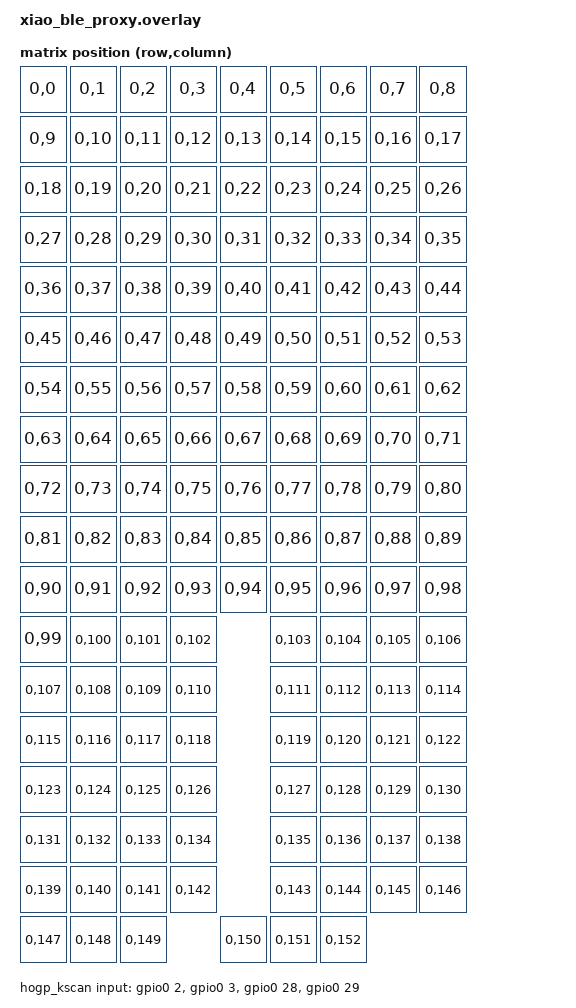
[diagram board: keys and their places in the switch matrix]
#include <dt-bindings/zmk/matrix_transform.h>
#include <zephyr/dt-bindings/gpio/gpio.h>
#include <zephyr/dt-bindings/input/input-event-codes.h>

/ {
    hogp_kscan: hogp_kscan {
        compatible = "zmk,kscan-hogp-proxy";
        rows = <1>;
        columns = <153>;
        input-gpios =
            <&gpio0 2 (GPIO_ACTIVE_LOW | GPIO_PULL_UP)>,
            <&gpio0 3 (GPIO_ACTIVE_LOW | GPIO_PULL_UP)>,
            <&gpio0 28 (GPIO_ACTIVE_LOW | GPIO_PULL_UP)>,
            <&gpio0 29 (GPIO_ACTIVE_LOW | GPIO_PULL_UP)>;
    };

    default_transform: keymap_transform0 {
        compatible = "zmk,matrix-transform";
        columns = <153>;
        rows = <1>;
        map = <
            RC(0,0)  RC(0,1)  RC(0,2)  RC(0,3)  RC(0,4)  RC(0,5)  RC(0,6)  RC(0,7)  RC(0,8)
            RC(0,9)  RC(0,10) RC(0,11) RC(0,12) RC(0,13) RC(0,14) RC(0,15) RC(0,16) RC(0,17)
            RC(0,18) RC(0,19) RC(0,20) RC(0,21) RC(0,22) RC(0,23) RC(0,24) RC(0,25) RC(0,26)
            RC(0,27) RC(0,28) RC(0,29) RC(0,30) RC(0,31) RC(0,32) RC(0,33) RC(0,34) RC(0,35)
            RC(0,36) RC(0,37) RC(0,38) RC(0,39) RC(0,40) RC(0,41) RC(0,42) RC(0,43) RC(0,44)
            RC(0,45) RC(0,46) RC(0,47) RC(0,48) RC(0,49) RC(0,50) RC(0,51) RC(0,52) RC(0,53)
            RC(0,54) RC(0,55) RC(0,56) RC(0,57) RC(0,58) RC(0,59) RC(0,60) RC(0,61) RC(0,62)
            RC(0,63) RC(0,64) RC(0,65) RC(0,66) RC(0,67) RC(0,68) RC(0,69) RC(0,70) RC(0,71)
            RC(0,72) RC(0,73) RC(0,74) RC(0,75) RC(0,76) RC(0,77) RC(0,78) RC(0,79) RC(0,80)
            RC(0,81) RC(0,82) RC(0,83) RC(0,84) RC(0,85) RC(0,86) RC(0,87) RC(0,88) RC(0,89)
            RC(0,90) RC(0,91) RC(0,92) RC(0,93) RC(0,94) RC(0,95) RC(0,96) RC(0,97) RC(0,98)
            RC(0,99) RC(0,100) RC(0,101) RC(0,102) RC(0,103) RC(0,104) RC(0,105) RC(0,106)
            RC(0,107) RC(0,108) RC(0,109) RC(0,110) RC(0,111) RC(0,112) RC(0,113) RC(0,114)
            RC(0,115) RC(0,116) RC(0,117) RC(0,118) RC(0,119) RC(0,120) RC(0,121) RC(0,122)
            RC(0,123) RC(0,124) RC(0,125) RC(0,126) RC(0,127) RC(0,128) RC(0,129) RC(0,130)
            RC(0,131) RC(0,132) RC(0,133) RC(0,134) RC(0,135) RC(0,136) RC(0,137) RC(0,138)
            RC(0,139) RC(0,140) RC(0,141) RC(0,142) RC(0,143) RC(0,144) RC(0,145) RC(0,146)
            RC(0,147) RC(0,148) RC(0,149) RC(0,150) RC(0,151) RC(0,152)
        >;
    };

    physical_layout0: physical_layout_0 {
        compatible = "zmk,physical-layout";
        display-name = "Default Layout";
        kscan = <&hogp_kscan>;
        transform = <&default_transform>;
    };

    hogp_pointer_scaler: hogp_pointer_scaler {
        compatible = "zmk,input-processor-scaler";
        #input-processor-cells = <2>;
        type = <INPUT_EV_REL>;
        codes = <INPUT_REL_X INPUT_REL_Y INPUT_REL_WHEEL INPUT_REL_HWHEEL>;
    };

    hogp_pointer_listener: hogp_pointer_listener {
        compatible = "zmk,input-listener";
        device = <&hogp_kscan>;
        input-processors = <&hogp_pointer_scaler 1 1>;
    };

    chosen {
        zmk,kscan = &hogp_kscan;
        zmk,physical-layout = &physical_layout0;
        zephyr,console = &cdc_acm_uart0;
        zephyr,shell-uart = &cdc_acm_uart0;
    };
};

&zephyr_udc0 {
    cdc_acm_uart0: cdc_acm_uart0 {
        compatible = "zephyr,cdc-acm-uart";
    };
};
